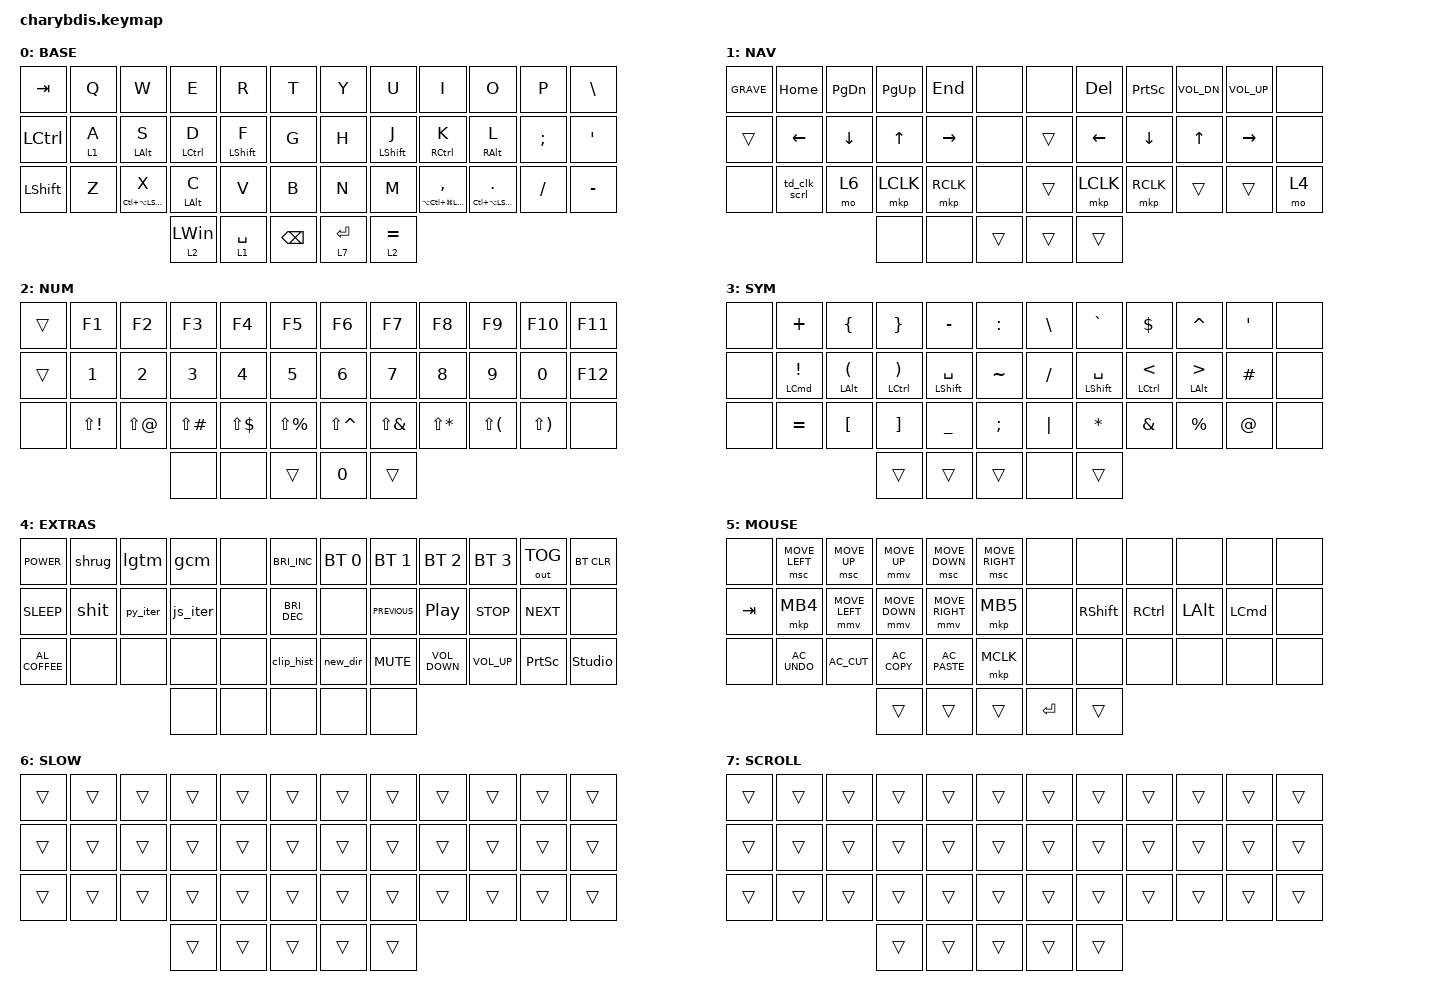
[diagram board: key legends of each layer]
#include <behaviors.dtsi>
#include <behaviors/mouse_keys.dtsi>
#include <dt-bindings/zmk/bt.h>
#include <dt-bindings/zmk/ext_power.h>
#include <dt-bindings/zmk/keys.h>
#include <dt-bindings/zmk/mouse.h>
#include <dt-bindings/zmk/outputs.h>
#include <dt-bindings/zmk/pointing.h>
#include "macros.dtsi"

// / {
//     chosen { zmk,matrix_transform = &default_transform; };
// };

/ {
    /* input config for mouse move mode */

    trackball_listener {
        compatible = "zmk,input-behavior-listener";
        device = <&vtrackball>;
        layers = <0 1 2 6>;
        evt-type = <INPUT_EV_REL>;
        x-input-code = <INPUT_REL_X>;
        y-input-code = <INPUT_REL_Y>;
        scale-multiplier = <1>;
        scale-divisor = <2>;

        // bindings = <&ib_toggle_layer 7>;
    };

    /* input config for snipe mode */

    trackball_snipe_listener {
        compatible = "zmk,input-behavior-listener";
        device = <&vtrackball>;
        layers = <6>;
        evt-type = <INPUT_EV_REL>;
        x-input-code = <INPUT_REL_X>;
        y-input-code = <INPUT_REL_Y>;
        scale-multiplier = <1>;
        scale-divisor = <4>;
    };

    /* input config for mouse scroll mode */

    trackball_scroll_listener {
        compatible = "zmk,input-behavior-listener";
        device = <&vtrackball>;
        layers = <7>;
        evt-type = <INPUT_EV_REL>;
        x-input-code = <INPUT_REL_MISC>;
        y-input-code = <INPUT_REL_WHEEL>;
        y-invert;
        bindings = <&ib_wheel_scaler 1 14>;
    };

    /* define a resolution down scaler only for INPUT_REL_WHEEL */

    ib_wheel_scaler: ib_wheel_scaler {
        compatible = "zmk,input-behavior-scaler";
        #binding-cells = <2>;
        evt-type = <INPUT_EV_REL>;
        input-code = <INPUT_REL_WHEEL>;
    };

    /* adjust cooldown waiting period for mouse key layer after activated */

    ib_toggle_layer: ib_toggle_layer {
        compatible = "zmk,input-behavior-tog-layer";
        #binding-cells = <1>;
        time-to-live-ms = <750>;
    };

    behaviors {
        hm: homerow_mod {
            compatible = "zmk,behavior-hold-tap";
            #binding-cells = <2>;
            flavor = "tap-preferred";
            tapping-term-ms = <175>; // triggers the hold behavior when the tapping-term-ms has expired
            quick-tap-ms = <150>; // If you press a tapped hold-tap again within quick-tap-ms milliseconds of the first press, it will always trigger the tap behavior.
            require-prior-idle-ms = <185>; // like quick-tap-ms however it will apply for any non-modifier key pressed before it
            bindings = <&kp>, <&kp>;

            // hold, tap
        };

        td_cursor: td_scroll_or_cursor {
            compatible = "zmk,behavior-tap-dance";
            #binding-cells = <0>;
            bindings = <&lt 7 ESC>, <&to 6>;

            // hold, tap, double_tap
        };

        httl: ht_two_layers {
            compatible = "zmk,behavior-hold-tap";
            bindings = <&mo>, <&to>;

            #binding-cells = <2>;
            flavor = "balanced";
            tapping-term-ms = <125>;
        };

        td_layers: td_layer_swap {
            compatible = "zmk,behavior-tap-dance";
            #binding-cells = <0>;
            bindings = <&to 0>, <&to 0>, <&to 0>;

            // tap, double_tap, tripple_tap
        };

        td_clk_scrl: td_click_or_scroll {
            compatible = "zmk,behavior-tap-dance";
            #binding-cells = <0>;
            tapping-term-ms = <250>;
            bindings = <&mkp RCLK>, <&mo 7>;

            // tap/hold, double_tap
        };

        td_bore: BASE_or_EXTRA {
            compatible = "zmk,behavior-tap-dance";
            #binding-cells = <0>;
            bindings = <&mo 4>, <&to 0>;
        };
    };

    combos {
        compatible = "zmk,combos";

        CapsWord {
            bindings = <&caps_word>;
            key-positions = <17 18>;
            layers = <0>;
        };

        MiddleClick {
            bindings = <&mkp MCLK>;
            key-positions = <28 37>;
        };

        RightClick {
            bindings = <&mkp RCLK>;
            key-positions = <16 37>;
        };

        BASE_or_EXTRAS {
            bindings = <&td_bore>;
            key-positions = <38 39>;
        };

        esc {
            bindings = <&kp ESCAPE>;
            key-positions = <0 1>;
        };

        leftbracket {
            bindings = <&kp LEFT_BRACKET>;
            key-positions = <32 33>;
        };

        rightbrack {
            bindings = <&kp RIGHT_BRACKET>;
            key-positions = <33 34>;
        };

        // GameLayer {
        //     bindings = <&tog 4>;
        //     key-positions = <8 9>;
        // };
        // PhotoLayer {
        //     bindings = <&tog 5>;
        //     key-positions = <2 3>;
        // };
    };

    // ╭──────┬──────┬──────┬──────┬──────┬──────╮  ╭──────┬──────┬──────┬──────┬──────┬──────╮
    //    00     01     02     03    04      05        06     07     08     09     10     11
    // ├──────┼──────┼──────┼──────┼──────┼──────┤  ├──────┼──────┼──────┼──────┼──────┼──────┤
    //    12     13     14     15    16      17        18     19     20     21     22     23
    // ├──────┼──────┼──────┼──────┼──────┼──────┤  ├──────┼──────┼──────┼──────┼──────┼──────┤
    //    24     25     26     27    28      29        30     31     32     33     34     35
    // ╰──────┴──────┴──────┼──────┼──────┼──────┤  ├──────┼──────┼──────┴──────┴──────┴──────╯
    //                         36     37     38        39     40
    //                      ╰──────┴──────┴──────╯  ╰──────┴──────╯
    // #define BASE    0
    // #define NUM     1
    // #define NAV     2
    // #define SYM     3
    // #define GAME    4
    // #define PHOTOS  5
    // #define EXTRAS  6
    // #define MOUSE   7
    // #define SLOW    8
    // #define SCROLL  9

    keymap {
        compatible = "zmk,keymap";

        BASE {
            bindings = <
&kp TAB    &kp Q    &kp W                     &kp E           &kp R             &kp T            &kp Y         &kp U             &kp I                             &kp O                          &kp P          &kp BACKSLASH
&kp LCTRL  &lt 1 A  &hm LEFT_ALT S            &hm LCTRL D     &hm LEFT_SHIFT F  &kp G            &kp H         &hm LEFT_SHIFT J  &hm RCTRL K                       &hm RIGHT_ALT L                &kp SEMICOLON  &kp SQT
&kp LSHFT  &kp Z    &hm LC(LA(LEFT_SHIFT)) X  &mt LEFT_ALT C  &kp V             &kp B            &kp N         &kp M             &hm LA(LC(LG(LEFT_SHIFT))) COMMA  &hm LC(LA(LEFT_SHIFT)) PERIOD  &kp FSLH       &kp MINUS
                                              &lt 2 LEFT_WIN  &lt 1 SPACE       &kp BACKSPACE    &lt 7 RETURN  &lt 2 EQUAL
            >;
        };

        NAV {
            bindings = <
&GRAVE  &kp HOME        &kp PAGE_DOWN   &kp PAGE_UP   &kp END    &none     &none   &kp DEL         &kp PRINTSCREEN  &kp C_VOL_DN  &kp C_VOL_UP     &none
&trans  &kp LEFT_ARROW  &kp DOWN_ARROW  &kp UP_ARROW  &kp RIGHT  &none     &trans  &kp LEFT_ARROW  &kp DOWN         &kp UP        &kp RIGHT_ARROW  &none
&none   &td_clk_scrl    &mo 6          &mkp LCLK     &mkp RCLK  &none     &trans  &mkp LCLK       &mkp RCLK        &trans        &trans           &mo 4
                                        &none         &none      &trans    &trans  &trans
            >;
        };

        NUM {
            bindings = <
&trans  &kp F1        &kp F2      &kp F3         &kp F4        &kp F5           &kp F6         &kp F7        &kp F8        &kp F9        &kp F10       &kp F11
&trans  &kp N1        &kp N2      &kp N3         &kp N4        &kp N5           &kp N6         &kp N7        &kp N8        &kp N9        &kp N0        &kp F12
&none   &kp LS(EXCL)  &kp LS(AT)  &kp LS(POUND)  &kp LS(DLLR)  &kp LS(PRCNT)    &kp LS(CARET)  &kp LS(AMPS)  &kp LS(STAR)  &kp LS(LPAR)  &kp LS(RPAR)  &none
                                  &none          &none         &trans           &kp N0         &trans
            >;
        };

        SYM {
            bindings = <
&none  &kp PLUS       &kp LEFT_BRACE     &kp RIGHT_BRACE  &kp MINUS             &kp COLON        &kp BSLH   &kp GRAVE             &kp DLLR      &kp CARET        &kp SQT      &none
&none  &hm LCMD EXCL  &hm LEFT_ALT LPAR  &hm LCTRL RPAR   &hm LEFT_SHIFT SPACE  &kp TILDE        &kp SLASH  &hm LEFT_SHIFT SPACE  &hm LCTRL LT  &hm LEFT_ALT GT  &kp HASH     &none
&none  &kp EQUAL      &kp LBKT           &kp RBKT         &kp UNDERSCORE        &kp SEMICOLON    &kp PIPE   &kp ASTRK             &kp AMPS      &kp PRCNT        &kp AT_SIGN  &none
                                         &trans           &trans                &trans           &none      &trans
            >;
        };

        EXTRAS {
            bindings = <
&kp C_POWER      &shrug  &lgtm     &gcm      &none  &kp C_BRIGHTNESS_INC    &bt BT_SEL 0  &bt BT_SEL 1    &bt BT_SEL 2       &bt BT_SEL 3     &out OUT_TOG     &bt BT_CLR
&kp C_SLEEP      &shit   &py_iter  &js_iter  &none  &kp C_BRIGHTNESS_DEC    &none         &kp C_PREVIOUS  &kp C_PLAY_PAUSE   &kp C_STOP       &kp C_NEXT       &none
&kp C_AL_COFFEE  &none   &none     &none     &none  &clip_hist              &new_dir      &kp K_MUTE      &kp C_VOLUME_DOWN  &kp C_VOLUME_UP  &kp PRINTSCREEN  &studio_unlock
                                   &none     &none  &none                   &none         &none
            >;
        };

        MOUSE {
            bindings = <
&none    &msc MOVE_LEFT  &msc MOVE_UP    &mmv MOVE_UP    &msc MOVE_DOWN   &msc MOVE_RIGHT    &none       &none            &none      &none         &none     &none
&kp TAB  &mkp MB4        &mmv MOVE_LEFT  &mmv MOVE_DOWN  &mmv MOVE_RIGHT  &mkp MB5           &none       &kp RIGHT_SHIFT  &kp RCTRL  &kp LEFT_ALT  &kp LCMD  &none
&none    &kp C_AC_UNDO   &kp C_AC_CUT    &kp C_AC_COPY   &kp C_AC_PASTE   &mkp MCLK          &none       &none            &none      &none         &none     &none
                                         &trans          &trans           &trans             &kp RETURN  &trans
            >;
        };

        SLOW {
            bindings = <
&trans  &trans  &trans  &trans  &trans  &trans    &trans  &trans  &trans  &trans  &trans  &trans
&trans  &trans  &trans  &trans  &trans  &trans    &trans  &trans  &trans  &trans  &trans  &trans
&trans  &trans  &trans  &trans  &trans  &trans    &trans  &trans  &trans  &trans  &trans  &trans
                        &trans  &trans  &trans    &trans  &trans
            >;
        };

        SCROLL {
            bindings = <
&trans  &trans  &trans  &trans  &trans  &trans    &trans  &trans  &trans  &trans  &trans  &trans
&trans  &trans  &trans  &trans  &trans  &trans    &trans  &trans  &trans  &trans  &trans  &trans
&trans  &trans  &trans  &trans  &trans  &trans    &trans  &trans  &trans  &trans  &trans  &trans
                        &trans  &trans  &trans    &trans  &trans
            >;
        };
    };
};
